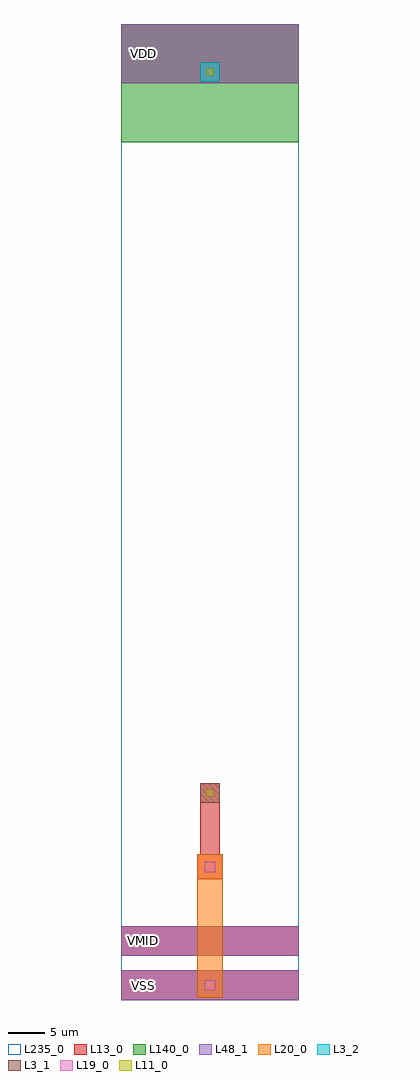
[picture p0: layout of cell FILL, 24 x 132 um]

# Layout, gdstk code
import gdstk
lib = gdstk.Library(unit=1e-6, precision=1e-09)
def R(c, l, rs):  # rectangles x0, y0, x1, y1
    for r in rs: c.add(gdstk.rectangle(r[:2], r[2:], *l))
L3_1 = (3, 1)
L3_2 = (3, 2)
L11_0 = (11, 0)
L13_0 = (13, 0)
L19_0 = (19, 0)
L20_0 = (20, 0)
L48_1 = (48, 1)
L140_0 = (140, 0)
L235_0 = (235, 0)

cont_n__fill = lib.new_cell('cont_n__FILL')
R(cont_n__fill, L3_2, [(-1.3,-1.3,1.3,1.3)])
R(cont_n__fill, L11_0, [(-0.5,-0.5,0.5,0.5)])
R(cont_n__fill, L13_0, [(-1.3,-1.3,1.3,1.3)])

cont_p__fill = lib.new_cell('cont_p__FILL')
R(cont_p__fill, L3_1, [(-1.3,-1.3,1.3,1.3)])
R(cont_p__fill, L11_0, [(-0.5,-0.5,0.5,0.5)])
R(cont_p__fill, L13_0, [(-1.3,-1.3,1.3,1.3)])

via_1__fill = lib.new_cell('via_1__FILL')
R(via_1__fill, L13_0, [(-1.7,-1.7,1.7,1.7)])
R(via_1__fill, L19_0, [(-0.7,-0.7,0.7,0.7)])
R(via_1__fill, L20_0, [(-1.7,-1.7,1.7,1.7)])

fill = lib.new_cell('FILL')
R(fill, L13_0, [(0,0,24,4), (0,6,24,10), (10.7,16.7,13.3,29.3), (0,124,24,132), (10.7,124.2,13.3,129.3)])
R(fill, L20_0, [(10.3,0.3,13.7,19.7)])
R(fill, L48_1, [(0,0,24,4), (0,6,24,10), (0,124,24,132)])
R(fill, L140_0, [(0,116,24,132)])
R(fill, L235_0, [(0,0,24,132)])
fill.add(gdstk.Reference(cont_n__fill, (12,125.5)))
fill.add(gdstk.Reference(cont_p__fill, (12,28)))
fill.add(gdstk.Reference(via_1__fill, (12,18)))
fill.add(gdstk.Reference(via_1__fill, (12,2)))
fill.add(gdstk.Label('VDD', (3,128), layer=48, texttype=0))
fill.add(gdstk.Label('VMID', (3,8), layer=48, texttype=0))
fill.add(gdstk.Label('VSS', (3,2), layer=48, texttype=0))

lib.write_gds('FILL.gds')
